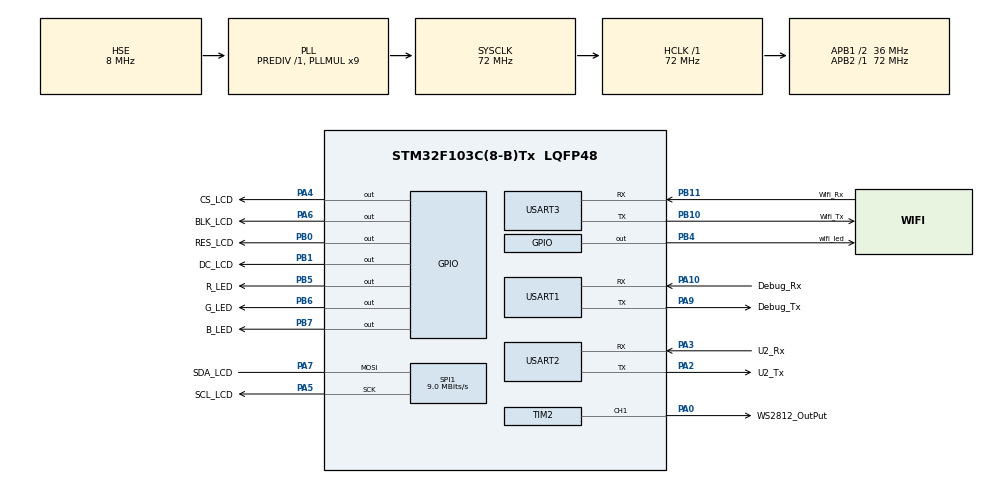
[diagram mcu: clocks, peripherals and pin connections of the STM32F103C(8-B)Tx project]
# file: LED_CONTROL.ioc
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Dma.Request0=USART3_RX
Dma.Request1=USART3_TX
Dma.Request2=TIM2_CH1
Dma.TIM2_CH1.2.Direction=DMA_MEMORY_TO_PERIPH
Dma.TIM2_CH1.2.Instance=DMA1_Channel5
Dma.TIM2_CH1.2.MemDataAlignment=DMA_MDATAALIGN_HALFWORD
Dma.TIM2_CH1.2.MemInc=DMA_MINC_ENABLE
Dma.TIM2_CH1.2.Mode=DMA_NORMAL
Dma.TIM2_CH1.2.PeriphDataAlignment=DMA_PDATAALIGN_HALFWORD
Dma.TIM2_CH1.2.PeriphInc=DMA_PINC_DISABLE
Dma.TIM2_CH1.2.Priority=DMA_PRIORITY_LOW
Dma.USART3_RX.0.Direction=DMA_PERIPH_TO_MEMORY
Dma.USART3_RX.0.Instance=DMA1_Channel3
Dma.USART3_RX.0.MemDataAlignment=DMA_MDATAALIGN_BYTE
Dma.USART3_RX.0.MemInc=DMA_MINC_ENABLE
Dma.USART3_RX.0.Mode=DMA_NORMAL
Dma.USART3_RX.0.PeriphDataAlignment=DMA_PDATAALIGN_BYTE
Dma.USART3_RX.0.PeriphInc=DMA_PINC_DISABLE
Dma.USART3_RX.0.Priority=DMA_PRIORITY_LOW
Dma.USART3_TX.1.Direction=DMA_MEMORY_TO_PERIPH
Dma.USART3_TX.1.Instance=DMA1_Channel2
Dma.USART3_TX.1.MemDataAlignment=DMA_MDATAALIGN_BYTE
Dma.USART3_TX.1.MemInc=DMA_MINC_ENABLE
Dma.USART3_TX.1.Mode=DMA_NORMAL
Dma.USART3_TX.1.PeriphDataAlignment=DMA_PDATAALIGN_BYTE
Dma.USART3_TX.1.PeriphInc=DMA_PINC_DISABLE
Dma.USART3_TX.1.Priority=DMA_PRIORITY_LOW
FREERTOS.Tasks01=defaultTask,0,128,StartDefaultTask,Default,NULL,Dynamic,NULL,NULL;system,1,128,SystemTask,Default,NULL,Dynamic,NULL,NULL;myTask03,1,128,Ws2812task,Default,NULL,Dynamic,NULL,NULL
FREERTOS.configTOTAL_HEAP_SIZE=7000
Mcu.Family=STM32F1
Mcu.Name=STM32F103C(8-B)Tx
Mcu.Package=LQFP48
NVIC.DMA1_Channel2_IRQn=true\:5\:0\:false\:false\:true\:true\:false
NVIC.DMA1_Channel3_IRQn=true\:5\:0\:false\:false\:true\:true\:false
NVIC.DMA1_Channel5_IRQn=true\:5\:0\:false\:false\:true\:true\:false
NVIC.PriorityGroup=NVIC_PRIORITYGROUP_4
NVIC.TIM2_IRQn=true\:5\:0\:false\:false\:true\:true\:true
NVIC.USART3_IRQn=true\:5\:0\:false\:false\:true\:true\:true
PA0-WKUP.GPIO_Label=WS2812_OutPut
PA0-WKUP.Signal=S_TIM2_CH1_ETR
PA10.GPIO_Label=Debug_Rx
PA10.Mode=Asynchronous
PA10.Signal=USART1_RX
PA13.Mode=Serial_Wire
PA13.Signal=SYS_JTMS-SWDIO
PA14.Mode=Serial_Wire
PA14.Signal=SYS_JTCK-SWCLK
PA2.GPIO_Label=U2_Tx
PA2.Mode=Asynchronous
PA2.Signal=USART2_TX
PA3.GPIO_Label=U2_Rx
PA3.Mode=Asynchronous
PA3.Signal=USART2_RX
PA4.GPIO_Label=CS_LCD
PA4.Signal=GPIO_Output
PA5.GPIO_Label=SCL_LCD
PA5.Mode=Simplex_Bidirectional_Master
PA5.Signal=SPI1_SCK
PA6.GPIO_Label=BLK_LCD
PA6.Signal=GPIO_Output
PA7.GPIO_Label=SDA_LCD
PA7.Mode=Simplex_Bidirectional_Master
PA7.Signal=SPI1_MOSI
PA9.GPIO_Label=Debug_Tx
PA9.Mode=Asynchronous
PA9.Signal=USART1_TX
PB0.GPIO_Label=RES_LCD
PB0.Signal=GPIO_Output
PB1.GPIO_Label=DC_LCD
PB1.Signal=GPIO_Output
PB10.GPIO_Label=Wifi_Tx
PB10.Mode=Asynchronous
PB10.Signal=USART3_TX
PB11.GPIO_Label=Wifi_Rx
PB11.Mode=Asynchronous
PB11.Signal=USART3_RX
PB4.GPIO_Label=wifi_led
PB4.Signal=GPIO_Output
PB5.GPIO_Label=R_LED
PB5.Signal=GPIO_Output
PB6.GPIO_Label=G_LED
PB6.Signal=GPIO_Output
PB7.GPIO_Label=B_LED
PB7.Signal=GPIO_Output
PC14-OSC32_IN.Mode=LSE-External-Oscillator
PC14-OSC32_IN.Signal=RCC_OSC32_IN
PC15-OSC32_OUT.Mode=LSE-External-Oscillator
PC15-OSC32_OUT.Signal=RCC_OSC32_OUT
PD0-OSC_IN.Mode=HSE-External-Oscillator
PD0-OSC_IN.Signal=RCC_OSC_IN
PD1-OSC_OUT.Mode=HSE-External-Oscillator
PD1-OSC_OUT.Signal=RCC_OSC_OUT
ProjectManager.HeapSize=0x200
ProjectManager.StackSize=0x400
ProjectManager.TargetToolchain=MDK-ARM V5
RCC.AHBFreq_Value=72000000
RCC.APB1CLKDivider=RCC_HCLK_DIV2
RCC.APB1Freq_Value=36000000
RCC.APB1TimFreq_Value=72000000
RCC.APB2Freq_Value=72000000
RCC.APB2TimFreq_Value=72000000
RCC.EnbaleCSS=true
RCC.HCLKFreq_Value=72000000
RCC.PLLMUL=RCC_PLL_MUL9
RCC.PLLSourceVirtual=RCC_PLLSOURCE_HSE
RCC.RTCClockSelection=RCC_RTCCLKSOURCE_LSE
RCC.SYSCLKFreq_VALUE=72000000
RCC.SYSCLKSource=RCC_SYSCLKSOURCE_PLLCLK
RCC.USBFreq_Value=72000000
RTC.Hours=11
RTC.Minutes=50
RTC.Month=RTC_MONTH_JUNE
RTC.WeekDay=RTC_WEEKDAY_TUESDAY
RTC.Year=19
SH.S_TIM2_CH1_ETR.0=TIM2_CH1,PWM Generation1 CH1
SPI1.BaudRatePrescaler=SPI_BAUDRATEPRESCALER_8
SPI1.CLKPolarity=SPI_POLARITY_HIGH
SPI1.CalculateBaudRate=9.0 MBits/s
SPI1.Direction=SPI_DIRECTION_1LINE
SPI1.Mode=SPI_MODE_MASTER
SPI1.VirtualType=VM_MASTER
TIM2.Channel-PWM\ Generation1\ CH1=TIM_CHANNEL_1
TIM2.Period=89
USART1.VirtualMode=VM_ASYNC
USART2.VirtualMode=VM_ASYNC
USART3.VirtualMode=VM_ASYNC
VP_FREERTOS_VS_ENABLE.Mode=Enabled
VP_RTC_VS_RTC_Activate.Mode=RTC_Enabled
VP_RTC_VS_RTC_Calendar.Mode=RTC_Calendar
VP_TIM2_VS_ClockSourceINT.Mode=Internal
board=LED_CONTROL

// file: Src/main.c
/**
  ******************************************************************************
  * File Name          : main.c
  * Description        : Main program body
  ******************************************************************************
  * This notice applies to any and all portions of this file
  * that are not between comment pairs USER CODE BEGIN and
  * USER CODE END. Other portions of this file, whether
  * inserted by the user or by software development tools
  * are owned by their respective copyright owners.
  *
  * Copyright (c) 2019 STMicroelectronics International N.V.
  * All rights reserved.
  *
  * Redistribution and use in source and binary forms, with or without
  * modification, are permitted, provided that the following conditions are met:
  *
  * 1. Redistribution of source code must retain the above copyright notice,
  *    this list of conditions and the following disclaimer.
  * 2. Redistributions in binary form must reproduce the above copyright notice,
  *    this list of conditions and the following disclaimer in the documentation
  *    and/or other materials provided with the distribution.
  * 3. Neither the name of STMicroelectronics nor the names of other
  *    contributors to this software may be used to endorse or promote products
  *    derived from this software without specific written permission.
  * 4. This software, including modifications and/or derivative works of this
  *    software, must execute solely and exclusively on microcontroller or
  *    microprocessor devices manufactured by or for STMicroelectronics.
  * 5. Redistribution and use of this software other than as permitted under
  *    this license is void and will automatically terminate your rights under
  *    this license.
  *
  * THIS SOFTWARE IS PROVIDED BY STMICROELECTRONICS AND CONTRIBUTORS "AS IS"
  * AND ANY EXPRESS, IMPLIED OR STATUTORY WARRANTIES, INCLUDING, BUT NOT
  * LIMITED TO, THE IMPLIED WARRANTIES OF MERCHANTABILITY, FITNESS FOR A
  * PARTICULAR PURPOSE AND NON-INFRINGEMENT OF THIRD PARTY INTELLECTUAL PROPERTY
  * RIGHTS ARE DISCLAIMED TO THE FULLEST EXTENT PERMITTED BY LAW. IN NO EVENT
  * SHALL STMICROELECTRONICS OR CONTRIBUTORS BE LIABLE FOR ANY DIRECT, INDIRECT,
  * INCIDENTAL, SPECIAL, EXEMPLARY, OR CONSEQUENTIAL DAMAGES (INCLUDING, BUT NOT
  * LIMITED TO, PROCUREMENT OF SUBSTITUTE GOODS OR SERVICES; LOSS OF USE, DATA,
  * OR PROFITS; OR BUSINESS INTERRUPTION) HOWEVER CAUSED AND ON ANY THEORY OF
  * LIABILITY, WHETHER IN CONTRACT, STRICT LIABILITY, OR TORT (INCLUDING
  * NEGLIGENCE OR OTHERWISE) ARISING IN ANY WAY OUT OF THE USE OF THIS SOFTWARE,
  * EVEN IF ADVISED OF THE POSSIBILITY OF SUCH DAMAGE.
  *
  ******************************************************************************
  */

#include "main.h"
#include "stm32f1xx_hal.h"
#include "cmsis_os.h"

/* USER CODE BEGIN Includes */
#include "bsp_usart.h"
#include "bsp_rtc.h"
#include "string.h"
#include  "ws2812_app.h"
#include  "bsp_ws2812.h"
#include <stdlib.h>
#include "string.h"
#include   "bsp_ws2812.h"
#include "stm32f1xx_hal.h"
#include  "math.h"
#include   "bsp_dma.h"
#include "string.h"
#include <stdlib.h>
#include "FreeRTOS.h"
#include "cmsis_os.h"
#include "bsp_tim.h"
#include "bsp_update.h"
#include  "esp8266.h"
#include "stm_flash.h"
/* USER CODE END Includes */

RTC_HandleTypeDef hrtc;

SPI_HandleTypeDef hspi1;

TIM_HandleTypeDef htim2;
DMA_HandleTypeDef hdma_tim2_ch1;

UART_HandleTypeDef huart1;
UART_HandleTypeDef huart2;
UART_HandleTypeDef huart3;
DMA_HandleTypeDef hdma_usart3_rx;
DMA_HandleTypeDef hdma_usart3_tx;

osThreadId defaultTaskHandle;
osThreadId systemHandle;
osThreadId myTask03Handle;

/* USER CODE BEGIN PV */
/* Private variables ---------------------------------------------------------*/

/* USER CODE END PV */

/* USER CODE BEGIN PFP */
/* Private function prototypes -----------------------------------------------*/
void SystemClock_Config(void);
void MX_GPIO_Init(void);
void MX_DMA_Init(void);
void MX_TIM2_Init(void);
void MX_USART2_UART_Init(void);
void MX_USART1_UART_Init(void);
void MX_USART3_UART_Init(void);
void MX_RTC_Init(void);
void StartDefaultTask(void const * argument);
void SystemTask(void const * argument);
void Ws2812task(void const * argument);
void MX_SPI1_Init(void);
void HAL_TIM_MspPostInit(TIM_HandleTypeDef *htim);

extern USART_RECEIVETYPE  UsartType3;
extern system_mode_type system_mode;
extern wifi_type   wifi8266;
/* USER CODE END PFP */

/* USER CODE BEGIN 0 */
 uint8_t shade_60_buf_1[6]={52,204,204,241,216,128};
 uint8_t shade_60_buf_2[6]={59,93,170,52,204,204};
 uint8_t shade_60_buf_3[6]={249,5,86,59,93,170};
 uint8_t shade_60_buf_4[6]={241,216,128,249,5,86};
 uint8_t onecolor_buf_1[3]={52,204,204};
 uint8_t onecolor_buf_2[3]={59,93,170};
 uint8_t onecolor_buf_3[3]={249,5,86};
 uint8_t onecolor_buf_4[3]={241,216,128};

/* USER CODE END 0 */

int main(void)
{

  /* USER CODE BEGIN 1 */
//SCB->VTOR = 0x8000000 | (0x2000 & (uint32_t)0x1FFFFF80);
  /* USER CODE END 1 */

  /* MCU Configuration----------------------------------------------------------*/

  /* Reset of all peripherals, Initializes the Flash interface and the Systick. */
  HAL_Init();

  /* Configure the system clock */
  SystemClock_Config();

  /* Initialize all configured peripherals */
  MX_GPIO_Init();
  MX_DMA_Init();
  MX_TIM2_Init();
  MX_USART2_UART_Init();
  MX_USART1_UART_Init();
  MX_USART3_UART_Init();
  MX_RTC_Init();
  MX_SPI1_Init();
  /* USER CODE BEGIN 2 */
//set_time_data(19,6,26,18, 04 ,50);
  DMA_USART_IDLE_INIT();
 read_mode_start();
	printf("system_mode.pattern_flay=%d\r\n",system_mode.pattern_flay);
                STMFLASH_Read (wifi8266_password_addr,(uint16_t * )&wifi8266.wifi_con_len,1);
								printf("wifi8266.wifi_con_len=%d\r\n",wifi8266.wifi_con_len);
								if(wifi8266.wifi_con_len!=255)
								{
								STMFLASH_Read (wifi8266_name_addr,(uint16_t * )wifi8266.name,(wifi8266.wifi_con_len/2+1));
								}
				Lcd_Clear(0xffff);
  /* USER CODE END 2 */

  /* Create the thread(s) */
  /* definition and creation of defaultTask */
  osThreadDef(defaultTask, StartDefaultTask, osPriorityNormal, 0, 512);
  defaultTaskHandle = osThreadCreate(osThread(defaultTask), NULL);

  /* definition and creation of system */
  osThreadDef(system, SystemTask, osPriorityNormal, 0, 256);
  systemHandle = osThreadCreate(osThread(system), NULL);

  /* definition and creation of myTask03 */
  osThreadDef(myTask03, Ws2812task, osPriorityNormal, 0, 256);
  myTask03Handle = osThreadCreate(osThread(myTask03), NULL);

  /* Start scheduler */
  osKernelStart();

  /* We should never get here as control is now taken by the scheduler */

  /* Infinite loop */
  while (1)
  {

  /* USER CODE BEGIN 3 */

//		 printf("nihao");

  }
  /* USER CODE END 3 */

}

/** System Clock Configuration
*/
void SystemClock_Config(void)
{

  RCC_OscInitTypeDef RCC_OscInitStruct;
  RCC_ClkInitTypeDef RCC_ClkInitStruct;
  RCC_PeriphCLKInitTypeDef PeriphClkInit;

    /**Initializes the CPU, AHB and APB busses clocks
    */
  RCC_OscInitStruct.OscillatorType = RCC_OSCILLATORTYPE_HSE|RCC_OSCILLATORTYPE_LSE;
  RCC_OscInitStruct.HSEState = RCC_HSE_ON;
  RCC_OscInitStruct.HSEPredivValue = RCC_HSE_PREDIV_DIV1;
  RCC_OscInitStruct.LSEState = RCC_LSE_ON;
  RCC_OscInitStruct.HSIState = RCC_HSI_ON;
  RCC_OscInitStruct.PLL.PLLState = RCC_PLL_ON;
  RCC_OscInitStruct.PLL.PLLSource = RCC_PLLSOURCE_HSE;
  RCC_OscInitStruct.PLL.PLLMUL = RCC_PLL_MUL9;
  if (HAL_RCC_OscConfig(&RCC_OscInitStruct) != HAL_OK)
  {
    _Error_Handler(__FILE__, __LINE__);
  }

    /**Initializes the CPU, AHB and APB busses clocks
    */
  RCC_ClkInitStruct.ClockType = RCC_CLOCKTYPE_HCLK|RCC_CLOCKTYPE_SYSCLK
                              |RCC_CLOCKTYPE_PCLK1|RCC_CLOCKTYPE_PCLK2;
  RCC_ClkInitStruct.SYSCLKSource = RCC_SYSCLKSOURCE_PLLCLK;
  RCC_ClkInitStruct.AHBCLKDivider = RCC_SYSCLK_DIV1;
  RCC_ClkInitStruct.APB1CLKDivider = RCC_HCLK_DIV2;
  RCC_ClkInitStruct.APB2CLKDivider = RCC_HCLK_DIV1;

  if (HAL_RCC_ClockConfig(&RCC_ClkInitStruct, FLASH_LATENCY_2) != HAL_OK)
  {
    _Error_Handler(__FILE__, __LINE__);
  }

  PeriphClkInit.PeriphClockSelection = RCC_PERIPHCLK_RTC;
  PeriphClkInit.RTCClockSelection = RCC_RTCCLKSOURCE_LSE;
  if (HAL_RCCEx_PeriphCLKConfig(&PeriphClkInit) != HAL_OK)
  {
    _Error_Handler(__FILE__, __LINE__);
  }

    /**Enables the Clock Security System
    */
  HAL_RCC_EnableCSS();

    /**Configure the Systick interrupt time
    */
  HAL_SYSTICK_Config(HAL_RCC_GetHCLKFreq()/1000);

    /**Configure the Systick
    */
  HAL_SYSTICK_CLKSourceConfig(SYSTICK_CLKSOURCE_HCLK);

  /* SysTick_IRQn interrupt configuration */
  HAL_NVIC_SetPriority(SysTick_IRQn, 15, 0);
}

void _Error_Handler(char * file, int line)
{
  while(1)
  {
  }
}

/************************ (C) COPYRIGHT STMicroelectronics *****END OF FILE****/

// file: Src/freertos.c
/**
  ******************************************************************************
  * File Name          : freertos.c
  * Description        : Code for freertos applications
  ******************************************************************************
  * This notice applies to any and all portions of this file
  * that are not between comment pairs USER CODE BEGIN and
  * USER CODE END. Other portions of this file, whether
  * inserted by the user or by software development tools
  * are owned by their respective copyright owners.
  *
  * Copyright (c) 2019 STMicroelectronics International N.V.
  * All rights reserved.
  *
  * Redistribution and use in source and binary forms, with or without
  * modification, are permitted, provided that the following conditions are met:
  *
  * 1. Redistribution of source code must retain the above copyright notice,
  *    this list of conditions and the following disclaimer.
  * 2. Redistributions in binary form must reproduce the above copyright notice,
  *    this list of conditions and the following disclaimer in the documentation
  *    and/or other materials provided with the distribution.
  * 3. Neither the name of STMicroelectronics nor the names of other
  *    contributors to this software may be used to endorse or promote products
  *    derived from this software without specific written permission.
  * 4. This software, including modifications and/or derivative works of this
  *    software, must execute solely and exclusively on microcontroller or
  *    microprocessor devices manufactured by or for STMicroelectronics.
  * 5. Redistribution and use of this software other than as permitted under
  *    this license is void and will automatically terminate your rights under
  *    this license.
  *
  * THIS SOFTWARE IS PROVIDED BY STMICROELECTRONICS AND CONTRIBUTORS "AS IS"
  * AND ANY EXPRESS, IMPLIED OR STATUTORY WARRANTIES, INCLUDING, BUT NOT
  * LIMITED TO, THE IMPLIED WARRANTIES OF MERCHANTABILITY, FITNESS FOR A
  * PARTICULAR PURPOSE AND NON-INFRINGEMENT OF THIRD PARTY INTELLECTUAL PROPERTY
  * RIGHTS ARE DISCLAIMED TO THE FULLEST EXTENT PERMITTED BY LAW. IN NO EVENT
  * SHALL STMICROELECTRONICS OR CONTRIBUTORS BE LIABLE FOR ANY DIRECT, INDIRECT,
  * INCIDENTAL, SPECIAL, EXEMPLARY, OR CONSEQUENTIAL DAMAGES (INCLUDING, BUT NOT
  * LIMITED TO, PROCUREMENT OF SUBSTITUTE GOODS OR SERVICES; LOSS OF USE, DATA,
  * OR PROFITS; OR BUSINESS INTERRUPTION) HOWEVER CAUSED AND ON ANY THEORY OF
  * LIABILITY, WHETHER IN CONTRACT, STRICT LIABILITY, OR TORT (INCLUDING
  * NEGLIGENCE OR OTHERWISE) ARISING IN ANY WAY OUT OF THE USE OF THIS SOFTWARE,
  * EVEN IF ADVISED OF THE POSSIBILITY OF SUCH DAMAGE.
  *
  ******************************************************************************
  */

#include "FreeRTOS.h"
#include "task.h"

/* USER CODE BEGIN Includes */
#include "bsp_usart.h"
#include "bsp_rtc.h"
#include "string.h"
#include  "ws2812_app.h"
#include  "bsp_ws2812.h"
#include <stdlib.h>
#include "string.h"
#include   "bsp_ws2812.h"
#include "stm32f1xx_hal.h"
#include  "math.h"
#include   "bsp_dma.h"
#include "string.h"
#include <stdlib.h>
#include "FreeRTOS.h"
#include "cmsis_os.h"
#include "bsp_tim.h"
#include "bsp_update.h"
#include  "esp8266.h"
#include "bsp_lcd_gui.h"
//#include "bsp_lcd_font.h"
/* USER CODE END Includes */

/* USER CODE BEGIN Variables */
extern USART_RECEIVETYPE  UsartType3;
extern system_mode_type system_mode;
extern osThreadId defaultTaskHandle;
extern osThreadId systemHandle;
extern osThreadId myTask03Handle;
extern wifi_type   wifi8266;
extern char str_time[40];

/* USER CODE END Variables */

/* USER CODE BEGIN FunctionPrototypes */
/* StartDefaultTask function */
void StartDefaultTask(void const * argument)
{

	 Lcd_Init();
	  Lcd_Clear(0xffff) ;
	 Gui_DrawFont_GBK16(35,20,BLUE,GRAY0,"wifi已断开");
	Gui_DrawFont_GBK16(40,40,RED,GRAY0,"系统时间");
	HAL_Delay(500);
  /* USER CODE BEGIN 5 */
	atk_8266_send_cmd("AT+CWMODE=3\r\n","OK",10);
	if(wifi8266.wifi_con_len!=255)
	{
//			atk_8266_send_cmd(wifi8266.wifi_con,"OK",10);
	}
	else
	{
	atk_8266_send_cmd("AT+CWSAP=\"ESPaa\",\"1234567890\",5,3\r\n","OK",10);
	}
	atk_8266_send_cmd("AT+CIPMUX=1\r\n","OK",10);
	atk_8266_send_cmd("AT+CIPSERVER=1,80\r\n","OK",10);
		reset_led_light();

	flash_data_to_color_data();	//

  /* Infinite loop */
  for(;;)
  {
//		 	Lcd_Clear(WHITE);
// Lcd_Clear(GRAY0);
		Gui_DrawFont_GBK16(5,60,BLUE,GRAY0,str_time);

//		Redraw_Mainmenu();
//		LCD_ShowNumTES();
		if(wifi8266.wifi_state==1)
		{
			 Gui_DrawFont_GBK16(35,20,BLUE,GRAY0,"wifi已连接");

		}
		else
		{
					 Gui_DrawFont_GBK16(35,20,BLUE,GRAY0,"wifi已断开");

		}
		 if(system_mode.pattern_flay==2)
				{

//         printf("进入moshi 2");
           system_mode_led(2);
						Gui_DrawFont_GBK16(50,0,RED,GRAY0,"模式二");
					if(system_mode.set_shade==1)
					{

						DMA_WS2812_shade_light(LED_MAX);
						//轨迹一

//					    DMA_WS2812_shade_logo_all(track_2_color_1);

					}

				}
			  else if(system_mode.pattern_flay==3)
				{
//
					    // system_mode_led(3);
					   DMA_WS2812_shade_light(LED_MAX);
						system_mode_led(3);
						Gui_DrawFont_GBK16(50,0,RED,GRAY0,"模式三");
//									 printf("进入moshi 3");
				}
				else if(system_mode.pattern_flay==4)
				{
//									 printf("进入moshi 3");
					   system_mode_led(3);
//					   reset_led_light();
					   DMA_WS2812_shade_light(LED_MAX);
									Gui_DrawFont_GBK16(50,0,BLUE,GRAY0,"模式三");
				}
					else if(system_mode.pattern_flay==1||system_mode.pattern_flay==255||system_mode.pattern_flay==0)
				{
						Gui_DrawFont_GBK16(50,0,RED,GRAY0,"模式一");

					system_mode_led(1);
				}
//				printf("进入StartDefaultTask\r\n");
    osDelay(1);
  }
  /* USER CODE END 5 */
}

/* SystemTask function */
void SystemTask(void const * argument)
{

  /* USER CODE BEGIN SystemTask */
//  UBaseType_t uxHighWaterMark;
//	UBaseType_t uxHighWaterMark1;
//	UBaseType_t uxHighWaterMar2;
  /* Infinite loop */
  for(;;)
  {
	  get_timer();

//Gui_DrawFont_GBK16(30,60,RED,GRAY0,"系统时间");
	//	arrange_display_two_run(10);
//		printf("bihao");

//		uxHighWaterMark=uxTaskGetStackHighWaterMark( defaultTaskHandle );
//   printf("StartDefaultTask剩余栈空间是多少：%d.\r\n",uxHighWaterMark);
//				uxHighWaterMark1=uxTaskGetStackHighWaterMark( systemHandle );
//   printf("SystemTask剩余栈空间是多少：%d.\r\n",uxHighWaterMark1);
//				uxHighWaterMar2=uxTaskGetStackHighWaterMark( myTask03Handle );
//   printf("Ws2812task剩余栈空间是多少：%d.\r\n",uxHighWaterMar2);
	Usart_Logo_data(UsartType3.tem_RX_pData,UsartType3.RX_pData,UsartType3.RX_Size);
//					printf("SystemTask\r\n");
    osDelay(1);
  }
  /* USER CODE END SystemTask */
}

/* Ws2812task function */
void Ws2812task(void const * argument)
{
  /* USER CODE BEGIN Ws2812task */
//	 Lcd_Init();

  /* Infinite loop */
  for(;;)
  {

//				printf("Ws2812task\r\n");
		 if(system_mode.pattern_flay==1||system_mode.pattern_flay==255||system_mode.pattern_flay==0)
				{
//					 printf("进入moshi 1");
					system_mode_led(1);
	DMA_WS2812_Ramp(LED_MAX, 255, 1);
  DMA_WS2812_Ramp(LED_MAX, 255, 2);
  DMA_WS2812_Ramp(LED_MAX, 255, 3);
	DMA_WS2812_Rampping(LED_MAX, 255, 2);
//	DMA_WS2812_Rampping_1(LED_MAX, 255, 1);
//	DMA_WS2812_one_light_run(2, 2);
  DMA_WS2812_Run(LED_MAX );
	DMA_WS2812_Running(LED_MAX);
  DMA_WS2812_Running_more(LED_MAX, 720);
  arrange_display(LED_MAX);
 	arrange_display_two(LED_MAX);
	ws2812_rand_light(LED_MAX);
  DMA_WS2812_circulation(LED_MAX);
	DMA_WS2812_circulation_more(LED_MAX,0);
  DMA_WS2812_circulation_more(LED_MAX,1);
	DMA_WS2812_circulation_more(LED_MAX,2);
//  DMA_WS2812_shade_60_run(LED_MAX,shade_60_buf_1);
//		osDelay(500);
//  DMA_WS2812_shade_60_run(LED_MAX,shade_60_buf_2);
//		osDelay(500);
//  DMA_WS2812_shade_60_run(LED_MAX,shade_60_buf_3);
//		osDelay(500);
//	DMA_WS2812_shade_60_run(LED_MAX,shade_60_buf_4);
//		osDelay(500);
//  ws28128_one_color_circulation_run(LED_MAX,onecolor_buf_1);
//    osDelay(500);
//  ws28128_one_color_circulation_run(LED_MAX,onecolor_buf_2);
//    osDelay(500);
//  ws28128_one_color_circulation_run(LED_MAX,onecolor_buf_3);
//    osDelay(500);
//  ws28128_one_color_circulation_run(LED_MAX,onecolor_buf_4);
//    osDelay(500);
				}
//		printf("Ws2812task\r\n");
    osDelay(1);
  }
  /* USER CODE END Ws2812task */
}
/* USER CODE END FunctionPrototypes */

/* Hook prototypes */

/************************ (C) COPYRIGHT STMicroelectronics *****END OF FILE****/
